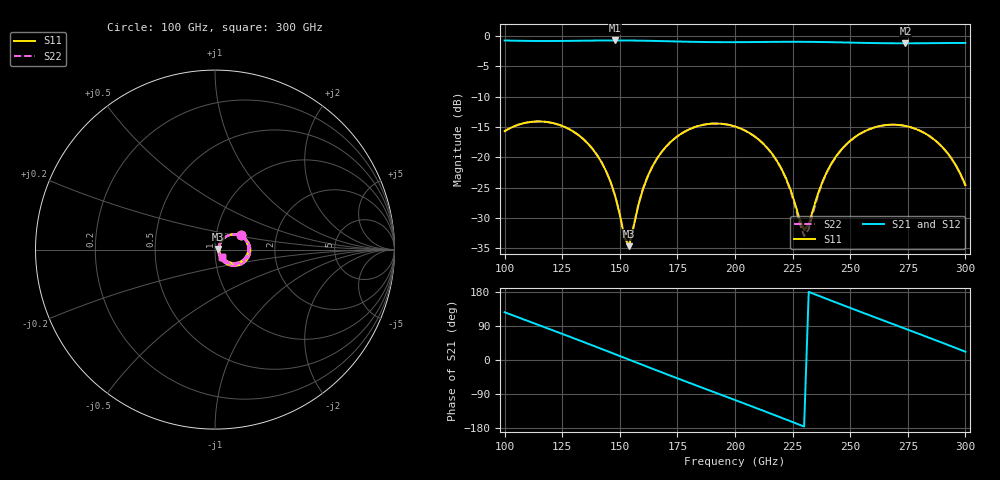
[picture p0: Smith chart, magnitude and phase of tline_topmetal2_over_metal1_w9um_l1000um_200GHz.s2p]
#  GHZ S DB R 50
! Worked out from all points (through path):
!   101 points, 100 GHz to 300 GHz, reference 50 ohm
!   highest |S21| = -0.75 dB at 148 GHz (marker M1); lowest = -1.2 dB at 274 GHz (marker M2)
!   group delay of S21, straight-line fit = 6.46 ps
!   lowest |S11| = -34.7 dB at 154 GHz (marker M3), VSWR 1.04, Z = 51.9 + j0.321 ohm
!   |S11| at or under -10 dB: start of sweep to end of sweep
!   |S22| runs from -34.5 to -14.1 dB; largest |S21 - S12| = 1e-13
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100  -15.70 29.1  -0.75 126.1  -0.75 126.1  -15.70 29.0
116  -14.11 -3.7  -0.84 89.5  -0.84 89.5  -14.12 -3.9
134  -16.95 -40.0  -0.79 48.1  -0.79 48.1  -16.96 -40.2
142  -20.78 -53.6  -0.76 29.4  -0.76 29.4  -20.79 -53.8
148  -26.41 -56.3  -0.75 15.2  -0.75 15.2  -26.40 -56.2
152  -33.19 -31.8  -0.75 5.7  -0.75 5.7  -33.10 -31.6
154  -34.67 9.6  -0.76 1.0  -0.76 1.0  -34.52 9.3
160  -25.32 55.0  -0.79 -13.2  -0.79 -13.2  -25.29 54.3
168  -19.21 47.3  -0.85 -32.0  -0.85 -32.0  -19.20 46.7
184  -14.86 16.8  -0.99 -69.0  -0.99 -69.0  -14.86 16.1
200  -14.93 -15.2  -1.03 -105.6  -1.03 -105.6  -14.94 -16.2
218  -20.48 -46.3  -0.98 -147.3  -0.98 -147.3  -20.52 -48.2
224  -25.26 -47.5  -0.97 -161.4  -0.97 -161.4  -25.43 -50.5
230  -32.01 -4.1  -0.98 -175.6  -0.98 -175.6  -33.00 -5.6
234  -28.50 41.6  -0.99 175.0  -0.99 175.0  -28.95 44.4
240  -22.32 51.0  -1.02 160.8  -1.02 160.8  -22.43 52.5
246  -18.82 44.3  -1.07 146.8  -1.07 146.8  -18.87 45.2
258  -15.43 22.9  -1.16 119.0  -1.16 119.0  -15.45 23.2
268  -14.64 3.3  -1.21 96.1  -1.21 96.1  -14.65 3.3
274  -14.84 -8.5  -1.22 82.4  -1.22 82.4  -14.86 -8.6
290  -18.33 -37.7  -1.18 45.4  -1.18 45.4  -18.35 -38.2
300  -24.60 -45.0  -1.16 21.9  -1.16 21.9  -24.69 -46.2
